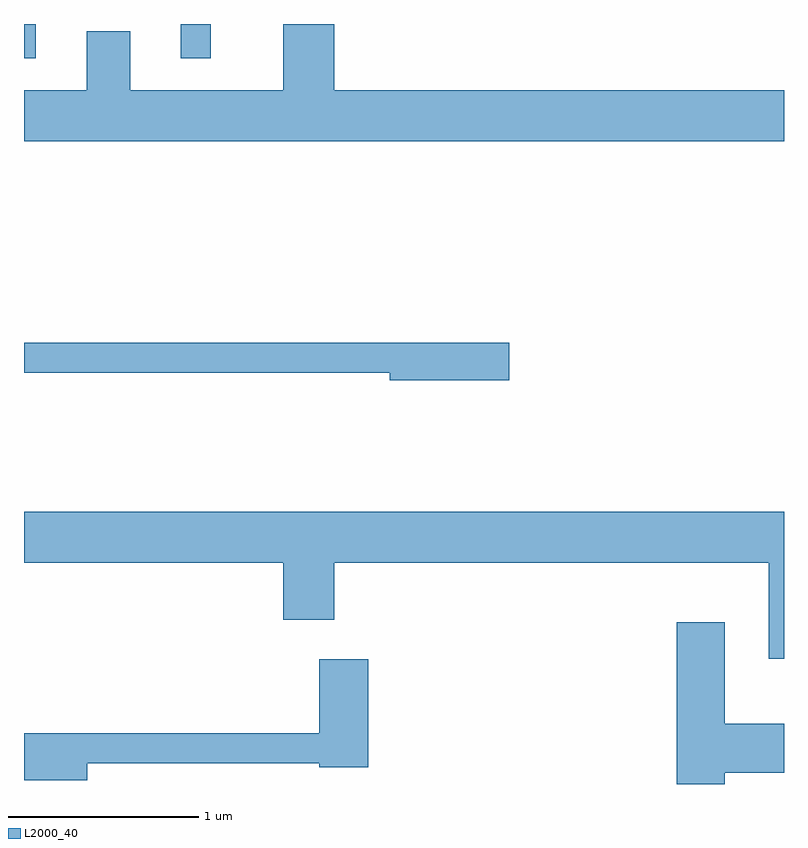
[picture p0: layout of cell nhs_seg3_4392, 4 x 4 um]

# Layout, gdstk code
import gdstk
lib = gdstk.Library(unit=1e-6, precision=1e-09)
def R(c, l, rs):  # rectangles x0, y0, x1, y1
    for r in rs: c.add(gdstk.rectangle(r[:2], r[2:], *l))
def P(c, l, *ps):  # polygons
    for p in ps: c.add(gdstk.Polygon(p, *l))
L2000_40 = (2000, 40)

nhs_seg3_4392 = lib.new_cell('nhs_seg3_4392')
R(nhs_seg3_4392, L2000_40, [(313.611,1199.713,313.674,1199.892), (314.436,1199.713,314.594,1199.892)])
P(nhs_seg3_4392, L2000_40, [(317.611,1199.544),(315.244,1199.544),(315.244,1199.892),(314.976,1199.892),(314.976,1199.544),(314.169,1199.544),(314.169,1199.854),(313.941,1199.854),(313.941,1199.544),(313.611,1199.544),(313.611,1199.276),(317.611,1199.276)],
  [(316.164,1198.214),(313.611,1198.214),(313.611,1198.056),(315.536,1198.056),(315.536,1198.016),(316.164,1198.016)],
  [(317.611,1197.324),(313.611,1197.324),(313.611,1197.056),(314.976,1197.056),(314.976,1196.756),(315.244,1196.756),(315.244,1197.056),(317.531,1197.056),(317.531,1196.551),(317.611,1196.551)],
  [(317.299,1195.951),(317.611,1195.951),(317.611,1196.209),(317.299,1196.209),(317.299,1196.744),(317.046,1196.744),(317.046,1195.892),(317.299,1195.892)],
  [(313.944,1196.001),(315.166,1196.001),(315.166,1195.981),(315.424,1195.981),(315.424,1196.549),(315.166,1196.549),(315.166,1196.159),(313.611,1196.159),(313.611,1195.911),(313.944,1195.911)])

lib.write_gds('nhs_seg3_4392.gds')
